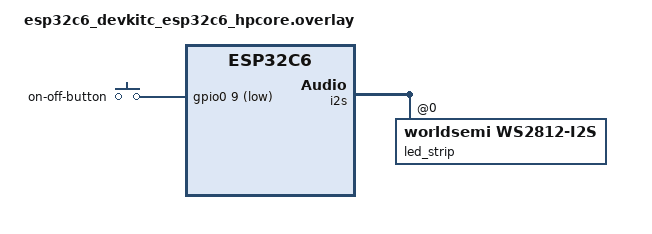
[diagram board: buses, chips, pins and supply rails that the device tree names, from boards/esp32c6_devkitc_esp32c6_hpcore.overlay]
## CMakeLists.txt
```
cmake_minimum_required(VERSION 3.20.0)

# nn-modules location: env (standalone build via nn-app-build) or the monorepo
# sibling (../../modules) as the fallback so in-tree builds keep working.
set(NN_MODULES_DIR "$ENV{NN_MODULES_DIR}")
if(NOT NN_MODULES_DIR)
    set(NN_MODULES_DIR ${CMAKE_CURRENT_SOURCE_DIR}/../../modules)
endif()

include(${NN_MODULES_DIR}/cmake/nn_version.cmake)
find_package(Zephyr REQUIRED HINTS $ENV{ZEPHYR_BASE})
project(mdns_ot_esp32c6)

add_subdirectory(${NN_MODULES_DIR}/libs/node_mgr node_mgr_build)

target_sources(app PRIVATE
    src/main.c
    src/mbedtls_threading_zephyr.c
)

target_include_directories(app PRIVATE include)
```

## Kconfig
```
mainmenu "mdns_ot_esp32c6 — Thread mesh with mDNS messaging"

config APP_DEVICE_NAME
	string "Default mDNS hostname"
	default "device1"
	help
	  Hostname advertised via mDNS as <name>.local.
	  Override at runtime with 'mesh name <name>'; persisted in NVS.

config APP_HOSTNAME_SIZE
	int
	default 32

config APP_DEVICE_TYPE
	string "Device type for OTA firmware matching"
	default "sample_c6"
	help
	  Identifies this device type when checking the hub for firmware updates.
	  Must match the type used with 'nn-hub firmware upload <type> ...'.

config APP_OTA_CHECK_INTERVAL_MIN
	int "OTA check interval (minutes, 0 = manual only)"
	default 0
	range 0 1440
	help
	  How often to automatically check the hub for firmware updates.
	  Set to 0 to disable automatic checks (use 'mesh ota check' instead).

# nn-modules location comes from the NN_MODULES_DIR env var (set by the
# standalone nn-app-build script, or by the monorepo build.sh).
source "$(NN_MODULES_DIR)/libs/node_mgr/Kconfig"

source "Kconfig.zephyr"
```

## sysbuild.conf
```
SB_CONFIG_BOOTLOADER_MCUBOOT=y
# OVERWRITE_ONLY: chosen as the operationally-working mode in our current
# stack (Zephyr 4.4, mbedtls 4.x, OpenThread, tf-psa-crypto).  Investigated
# 2026-05-19:
#  - OVERWRITE_ONLY hangs on *warm* reset triggered by sys_reboot after
#    boot_request_upgrade.  UART silent right after ESP-IDF's "SPI Flash
#    Size : 8MB", before MCUboot's own "Starting bootloader".  Operator
#    workaround: cold power-cycle after `mesh ota apply`.
#  - SWAP_SCRATCH (the historically working mode per project_ota_ab_swap.md)
#    works on cold boot but takes ~25 min on a 1.79 MB image (vs ~30 s for
#    OVERWRITE_ONLY).  Also hangs on warm reset.
#  - DIRECT_XIP is "CURRENTLY UNSUPPORTED" upstream in MCUboot's espressif
#    port (boot/espressif/hal/include/mcuboot_config/mcuboot_config.h:62)
#    — falls through to SWAP_USING_SCRATCH silently and produces a
#    bootloader that hangs on any cold boot with two populated slots.
# Documented in feedback_mcuboot_warm_reset_swap_hang.md.  Active mode:
# OVERWRITE_ONLY, accept cold-cycle-after-apply workflow.
SB_CONFIG_MCUBOOT_MODE_OVERWRITE_ONLY=y
```

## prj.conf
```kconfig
# === Serial / Shell ===
CONFIG_SERIAL=y
CONFIG_CONSOLE=y
CONFIG_UART_CONSOLE=y
CONFIG_EARLY_CONSOLE=y
CONFIG_SHELL=y
CONFIG_SHELL_BACKEND_SERIAL=y
CONFIG_SHELL_PROMPT_UART="mesh:~$ "
# Disable tab autocomplete — Zephyr's common_beginning_find faults
# on noisy input (see feedback_zephyr_shell_tab_crash.md).
CONFIG_SHELL_TAB=n
# BT shell defaulted IN with SHELL+BT and shipped in fleet images —
# ~KBs of code/RAM no product path uses (E2E = REST only).  Freed to
# fit the CORRECT iram placement of the arch core (task #46).
CONFIG_BT_SHELL=n
# history buffer = 512B of RAM for arrow-key recall on a bench console
CONFIG_SHELL_HISTORY=n
CONFIG_MAIN_STACK_SIZE=6144
# `ota_client_check` / `_download` put two 1280 B CoAP buffers + a
# 512 B resp_json on the shell stack (~3.3 KB before library frames).
# 4 KB is not enough — overflow smashes neighbouring thread TCBs and
# the deferred logging thread faults on its next wake-up.  Bump.
CONFIG_SHELL_STACK_SIZE=8192
CONFIG_STACK_SENTINEL=y

# === Networking core ===
CONFIG_NETWORKING=y
CONFIG_NET_L2_OPENTHREAD=y
CONFIG_NET_IPV6=y
CONFIG_NET_IPV6_NBR_CACHE=y
CONFIG_NET_IPV6_MLD=y          # Required by mDNS (joins ff02::fb multicast)
CONFIG_NET_UDP=y
CONFIG_NET_SOCKETS=y
# net shell = bench debug; product path is REST-only (freed for the
# correct iram placement, task #46)
CONFIG_NET_SHELL=n

# === OpenThread FTD ===
CONFIG_OPENTHREAD_FTD=y
# OPENTHREAD_SHELL pulls libopenthread-cli-ftd.a (10+ KB code, ~3 KB BSS)
# which expands further once Link Metrics CLI commands are linked.  Disable
# to fit Thread 1.2 + Link Metrics in 488 KB SRAM.  The app-side `mesh ...`
# command tree (nn_osal_shell-based) is unaffected; only `ot ...` commands
# go away.  Use UART boot logs + `nn-hub events` for OT introspection.
CONFIG_OPENTHREAD_SHELL=n
# OPENTHREAD_PING_SENDER is purely a `ot ping` diagnostic — disabled here
# to free ~4 KB of code+BSS so the Thread 1.2 Link Metrics path fits in
# ESP32-C6's 488 KB SRAM.  Re-enable when actively debugging on UART.
CONFIG_OPENTHREAD_PING_SENDER=n
# Thread joiner-protocol path is disabled in favour of the BLE-pushes-
# dataset onboarding flow (`nn-hub device new --dataset-hex …`).
# Re-enable both if you ever want to use OT MeshCoP commissioning:
#   CONFIG_OPENTHREAD_COMMISSIONER=y  — needed for /commission/add CoAP
#   CONFIG_OPENTHREAD_JOINER=y        — needed for `ot joiner start`
# The /commission/add CoAP resource in coap_info.c is also gated on
# CONFIG_OPENTHREAD_COMMISSIONER and is compiled out when this is n.
CONFIG_OPENTHREAD_COMMISSIONER=n
CONFIG_OPENTHREAD_JOINER=n
CONFIG_OPENTHREAD_THREAD_STACK_SIZE=6144
# Never auto-start from NVS — 802.15.4 is disabled at boot for BLE PHY init.
CONFIG_OPENTHREAD_MANUAL_START=y
# SLAAC: auto-configure OMR addresses from border router prefix advertisements.
# Required for hub→device CoAP reachability via Thread Border Router.
CONFIG_OPENTHREAD_SLAAC=y

# Thread 1.2 mode — required for Link Metrics support.  The default in this
# tree is 1.1 (set by Kconfig.features default).  Link Metrics types are
# gated on `OPENTHREAD_THREAD_VERSION_1_2 || _1_3 || ..` in OT's headers,
# so flipping the version is enough to enable them.  1.2 is the minimum
# spec that introduced Link Metrics; we don't need 1.3/1.4 features.
CONFIG_OPENTHREAD_THREAD_VERSION_1_2=y

# Thread 1.2 Link Metrics — fixes asymmetric-route route-cost convergence.
# Without these, OT computes route cost only from MLE Advertisement (broadcast)
# reception quality; broadcasts go out at higher TX power than unicast on
# ESP32-C6, so a peer whose unicast path is broken stays advertised as a
# direct neighbor and cascades dump AUTO_NOTIFY into the dead path forever.
# Link Metrics adds bidirectional active probing so OT can detect and
# demote those asymmetric links within a couple of MLE intervals.
#   INITIATOR  — query metrics from peers
#   SUBJECT    — respond to other peers' queries
#   MANAGER    — periodically probe each connected neighbor and feed the
#                result into the route cost calculation
# All three must be set; MANAGER asserts on INITIATOR at compile time.
CONFIG_OPENTHREAD_LINK_METRICS_INITIATOR=y
CONFIG_OPENTHREAD_LINK_METRICS_SUBJECT=y
CONFIG_OPENTHREAD_LINK_METRICS_MANAGER=y

# === mDNS responder (answers <hostname>.local queries) ===
CONFIG_NET_HOSTNAME_ENABLE=y
CONFIG_NET_HOSTNAME_DYNAMIC=y
CONFIG_MDNS_RESPONDER=y

# === DNS resolver with mDNS support (resolves <hostname>.local) ===
CONFIG_DNS_RESOLVER=y
CONFIG_MDNS_RESOLVER=y
CONFIG_DNS_RESOLVER_MAX_SERVERS=1
CONFIG_DNS_NUM_CONCUR_QUERIES=3
# net_sock_svc monitors DNS resolver + mDNS responder sockets.
# Default ZVFS_POLL_MAX=3 is too small; set to 8 to cover all services.
CONFIG_ZVFS_POLL_MAX=8

# Required for OT L2 to propagate IPv6 multicast joins (e.g. ff02::fb) to
# otIp6SubscribeMulticastAddress.  Without this the OT l2 event handler
# receives NET_EVENT_IPV6_MADDR_ADD with a NULL info pointer and never
# subscribes, so mDNS multicast queries are silently dropped by OT.
CONFIG_NET_MGMT_EVENT_INFO=y

# === Flash / NVS / Settings (OT dataset + BLE prov flag + device name) ===
CONFIG_FLASH=y
CONFIG_FLASH_MAP=y
CONFIG_FLASH_PAGE_LAYOUT=y
CONFIG_NVS=y
CONFIG_SETTINGS=y
CONFIG_SETTINGS_NVS=y

# === Bluetooth (dual-role: peripheral + central for provisioning) ===
CONFIG_BT=y
CONFIG_BT_PERIPHERAL=y
CONFIG_BT_CENTRAL=y
CONFIG_BT_GATT_CLIENT=y
CONFIG_BT_DEVICE_NAME="OT-Node"
CONFIG_BT_MAX_CONN=2
CONFIG_BT_L2CAP_TX_MTU=260
CONFIG_BT_BUF_ACL_RX_SIZE=264
CONFIG_BT_BUF_ACL_TX_SIZE=264
# M6: encrypted DATASET_CHAR envelope (JSON + base64) is ~200B.
# At default ATT MTU=23, Write Long fragments into ~18B chunks → up
# to 12 prepare slots needed.  16 leaves headroom.
CONFIG_BT_ATT_PREPARE_COUNT=16
CONFIG_BT_SHELL=y

# === RF coexistence: manual (BLE and 802.15.4 never simultaneously) ===
CONFIG_ESP32_SW_COEXIST_ENABLE=n

# === CoAP (hub ↔ device protocol) ===
CONFIG_COAP=y

# === OTA: MCUboot image manager + stream flash for Block2 downloads ===
CONFIG_IMG_MANAGER=y
CONFIG_STREAM_FLASH=y
CONFIG_STREAM_FLASH_ERASE=y
CONFIG_IMG_BLOCK_BUF_SIZE=1024

# === PSA Crypto (for ECIES v2: X25519 ECDH + HKDF-SHA256 + AES-256-GCM) ===
# PSA_WANT_* symbols are invisible when MBEDTLS_PROMPTLESS=y and cannot be
# set here — they are pulled in via 'select' in node_mgr/Kconfig instead.
# Default heap (512 B) is too small for X25519 ECDH + HKDF + AES-GCM.
#
# 12 KB was tight: after a sustained sign load (e.g. OTA block downloads,
# 1 sign per block + 1 verify), mbedtls's internal allocator slowly
# fragments and psa_sign_message starts returning -141 INSUFFICIENT_MEMORY
# permanently until reboot.  Bump to 64 KB — gives plenty of headroom
# for the deterministic ECDSA sign workspace (~3 KB) plus the
# X25519 ECDH + HKDF + AES-GCM stack used during ECIES decrypt, with
# room left to fragment.
CONFIG_MBEDTLS_HEAP_SIZE=65536
# Temporary: introspect mbedtls heap to find PSA-141 root cause.
CONFIG_MBEDTLS_MEMORY_DEBUG=y
# Append our TF-PSA user config to enable MBEDTLS_THREADING_C +
# MBEDTLS_THREADING_ALT.  See apps/mdns_ot_esp32c6/include/
# tf_psa_user_config.h and src/mbedtls_threading_zephyr.c.
CONFIG_TF_PSA_CRYPTO_USER_CONFIG_FILE="tf_psa_user_config.h"

# === JSON for envelope parsing ===
CONFIG_JSON_LIBRARY=y

# === Base64 for ECIES envelope encoding ===
CONFIG_BASE64=y

# === Logging ===
CONFIG_LOG=y
# Was 8192; tried 4096 and it Z-FATAL'd on boot (logging thread stack
# overflow once Thread 1.2 + Link Metrics started emitting their own
# events).  6144 fits and survives boot; the SRAM headroom comes from
# the NET_BUF_RX_COUNT trim further down.
CONFIG_LOG_PROCESS_THREAD_STACK_SIZE=6144
# BLE provisioning's apply_dataset_work_handler runs on the system
# workqueue and calls otDatasetSetActiveTlvs() + Thread start, which
# overflows the default 1024B sysworkq stack.  Bumped to 4096 originally,
# then raised again to 12288 — the sensor_pump_work runs on the same
# system workqueue and fires the auto_engine cascade, which on a
# cross-device rule recurses through notify_targets → send_d2d_reliable
# → rel_burst_fire → rel_send_one (inner[774]) → send_signed_frame
# (~1 KB) → PSA sign (~1 KB).  Matches the field_relay worker bump.
CONFIG_SYSTEM_WORKQUEUE_STACK_SIZE=8192
# BLE GATT write callbacks (hub_config_cb / dataset_cb) run on the BT
# RX thread and call PSA crypto + settings_save_one — defaults of
# 1200/1300 bytes overflow.  Bump both BT thread stacks to 4096.
CONFIG_BT_RX_STACK_SIZE=4096
CONFIG_BT_LONG_WQ_STACK_SIZE=4096
CONFIG_PRINTK=y
# Ensure printk goes directly to UART, not through the log subsystem.
# Needed for OTA progress output while log thread is suspended.
CONFIG_LOG_PRINTK=n
CONFIG_NET_LOG=y
# Remote syslog via Zephyr's built-in net backend (UDP to hub).
# Server address set at runtime via log_backend_net_set_addr().
# Remote logging: coap_log backend (like log_backend_mqtt pattern).
# LOG_ALWAYS_RUNTIME was needed for coap_log backend but causes flash
# XIP crashes during OTA.  Disabled for now — coap_log backend won't
# receive messages until runtime filter is set.
# CONFIG_LOG_ALWAYS_RUNTIME=y
CONFIG_OPENTHREAD_L2_LOG_LEVEL_WRN=y
CONFIG_BT_LOG_LEVEL_INF=y
CONFIG_BT_HCI_DRIVER_LOG_LEVEL_WRN=y
CONFIG_LOG_BUFFER_SIZE=4096
CONFIG_SHELL_CMD_BUFF_SIZE=512

# === Network buffers ===
# Doubled from 64/128 pkts and 128/32 bufs (see git log) — gives
# headroom for concurrent FIELD_OP relay traffic + OTA Block2 fragments
# + mDNS responder.  Helps but does NOT close the residual net_pkt
# alloc FAILED rate observed during E2E FIELD_REPLY testing on c6-s1
# (~0.5/s during idle) — that's a deeper Zephyr OT L2 leak per
# feedback_zephyr_zsock_net_buf_leak.md.  NET_BUF_POOL_USAGE turned on
# so `net mem` shell prints per-pool high-water marks for future debug.
# NET pool was bumped 2x for FIELD_REPLY back-pressure headroom; the
# real fix was async dispatch in field_relay (nn-modules@69c0cc7) so
# the 2x is no longer load-bearing.  Trimming RX from 256 → 192 frees
# ~8 KB BSS, which is what made Thread 1.2 + Link Metrics fit.
CONFIG_NET_PKT_RX_COUNT=128
CONFIG_NET_PKT_TX_COUNT=32
# 192 -> 184 (2026-09-25): the hermetic build (SDK 1.0.1, ISR code in IRAM)
# overflowed sram0_0_seg by 464 B after radio stats / channel scan /
# nearest-gateway state; RX pools measured never below 192/192 free.
CONFIG_NET_BUF_RX_COUNT=184
CONFIG_NET_BUF_TX_COUNT=64
CONFIG_NET_BUF_POOL_USAGE=y
# Default NET_MAX_CONN=8 fills with mDNS×2 + CoAP server + messenger +
# nn_proto_client + OTA bind, leaving no slot for ota_client's outbound
# CoAP socket; symptom is errno=2 (ENOENT) on bind/sendto.  See
# memory/feedback_zephyr_net_max_conn.md.
CONFIG_NET_MAX_CONN=24

# Phase 3: drive on-board WS2812 LED (GPIO 8) for "led" actuator demo.
# Use I2S + DMA (Espressif's reference) — SPI driver doesn't generate
# clean back-to-back WS2812 frames on ESP32-C6 (FSPI adds inter-byte
# idle gaps that prevent the chip from latching subsequent updates).
CONFIG_LED_STRIP=y
CONFIG_WS2812_STRIP_I2S=y
CONFIG_I2S=y
CONFIG_DMA=y

# Phase 3: on-board BOOT button (GPIO 9) as a "button" sensor field.
# Pick TOGGLE — each press flips the value; FLIP would mirror the
# physical button (1 while held, 0 released).
CONFIG_NODE_MGR_BUTTON=y
CONFIG_NODE_MGR_BUTTON_TOGGLE=y
CONFIG_NN_PAL=y

# Firmware identity: BLE FW_NAME char + INFO_REPLY img + OTA catalog key.
CONFIG_NODE_MGR_IMAGE_NAME="nn-app-mdns-ot-esp32c6"

# Floats in logs and the shell ("%f"): without this cbprintf prints "*float*".
# The field-push JSON no longer depends on it, but log lines and
# `mesh auto get` still do.
CONFIG_CBPRINTF_FP_SUPPORT=y


# one copy per reliable-send attempt: the fixed 802.15.4 driver lets
# OpenThread retry lost frames; 3 copies only congested the channel
CONFIG_NODE_MGR_NN_PROTO_RELIABLE_FIRE_BURST=1
```

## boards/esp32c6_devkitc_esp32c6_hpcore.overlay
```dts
/*
 * DTS overlay for the mdns_ot_esp32c6 sensor sample.
 *
 * - On-board WS2812 RGB LED on GPIO 8 as a led-strip device, used by
 *   the "led" actuator field.  Driven via I2S + DMA, not SPI — ESP32-C6
 *   FSPI inserts inter-byte idle gaps that break WS2812 timing after the
 *   first transfer.  Mirrors Espressif's reference at
 *   third_party/zephyr/samples/drivers/led/led_strip/boards/
 *     esp32c6_devkitc_hpcore.overlay.
 * - On-board BOOT button on GPIO 9 as the `sw0` alias, used by
 *   node_mgr/button (NODE_MGR_BUTTON_{FLIP,TOGGLE}).  Active-low with
 *   internal pull-up — GPIO 9 is also a strap pin so it must idle high
 *   at reset; with the button up at reset that's automatic.
 */

#include <zephyr/dt-bindings/led/led.h>
#include <zephyr/dt-bindings/gpio/gpio.h>
#include <zephyr/dt-bindings/input/input-event-codes.h>

&i2s_default {
	group1 {
		pinmux = <I2S_O_SD_GPIO8>;
	};
};

i2s_led: &i2s {
	status = "okay";

	dmas = <&dma 3>;
	dma-names = "tx";

	led_strip: ws2812@0 {
		compatible = "worldsemi,ws2812-i2s";

		reg = <0>;
		chain-length = <1>;
		/* ESP32-C6 DevKitC's on-board WS2812 chip is RGB byte-order
		 * (not the more common GRB).  With GRB mapping the cb's
		 * green=0x40 lands in the chip's red slot and the LED blinks
		 * red.  Use RED-GREEN-BLUE here so struct.r → wire byte 0. */
		color-mapping = <LED_COLOR_ID_RED
				 LED_COLOR_ID_GREEN
				 LED_COLOR_ID_BLUE>;
		reset-delay = <500>;
	};
};

&dma {
	status = "okay";
};

/ {
	aliases {
		led-strip = &led_strip;
		sw0 = &on_off_button;
	};

	buttons {
		compatible = "gpio-keys";

		on_off_button: button_0 {
			gpios = <&gpio0 9 (GPIO_ACTIVE_LOW | GPIO_PULL_UP)>;
			zephyr,code = <INPUT_KEY_0>;
			label = "on-off-button";
		};
	};
};
```

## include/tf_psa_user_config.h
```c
/*
 * tf_psa_user_config.h — appended after Zephyr's config-tf-psa-crypto.h.
 *
 * Wired via CONFIG_TF_PSA_CRYPTO_USER_CONFIG_FILE in prj.conf.  Adds the
 * threading-safety macros that the base config explicitly does NOT
 * define, so TF-PSA-crypto serialises its internal state through our
 * registered k_mutex callbacks (see threading_alt.h + mbedtls_threading_
 * zephyr.c).
 *
 * Why: identity_sign was returning PSA_ERROR_INSUFFICIENT_MEMORY (-141)
 * non-deterministically during OTA, even though the mbedtls heap was
 * 99.7 % free.  The cause was concurrent access from OpenThread's MLE
 * security crypto, which corrupts PSA's key-slot table without
 * internal locking.  See feedback_psa_141_partial_mitigations.md.
 */

#ifndef TF_PSA_USER_CONFIG_H_
#define TF_PSA_USER_CONFIG_H_

#define MBEDTLS_THREADING_C
#define MBEDTLS_THREADING_ALT

#endif /* TF_PSA_USER_CONFIG_H_ */
```

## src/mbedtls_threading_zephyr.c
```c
/* SPDX-License-Identifier: Apache-2.0 */

/*
 * mbedtls_threading_zephyr.c — Zephyr k_mutex / k_condvar bindings for
 * MBEDTLS_THREADING_ALT (TF-PSA-crypto v1.x API).  Registered via
 * mbedtls_threading_set_alt() at SYS_INIT POST_KERNEL priority high
 * enough to land BEFORE Zephyr's own _mbedtls_init() (which calls
 * psa_crypto_init at POST_KERNEL default priority 40).
 *
 * Background: TF-PSA-crypto's internal state (key-slot table, slot
 * reader counters, internal allocator metadata) is not thread-safe
 * unless MBEDTLS_THREADING_C is enabled.  OpenThread's MLE security
 * thread calls into PSA crypto on its own thread; without a shared
 * mutex it races with our identity_sign calls, corrupting the slot
 * table, which eventually surfaces as PSA_ERROR_INSUFFICIENT_MEMORY
 * (-141) from psa_sign_hash on an unrelated, perfectly valid call.
 *
 * The threading_alt.h header in the mbedtls include path declares
 * mbedtls_platform_mutex_t / _condition_variable_t as opaque byte
 * buffers (NOT as struct k_mutex / k_condvar) — this avoids dragging
 * <zephyr/kernel.h> into OpenThread's mbedtls.cpp compile, which
 * would create a build-order deadlock against heap_constants.h.
 * The casts below + the static_asserts below pin the opaque buffer
 * sizes to the real Zephyr types at compile time.
 */

#include <mbedtls/threading.h>

#include <nn_osal/osal.h>

NN_OSAL_LOG_MODULE(mbedtls_threading);

/* Pin the opaque-buffer sizes in threading_alt.h to the real Zephyr
 * struct sizes.  If a future Zephyr bump grows either struct past
 * these budgets, the build will fail loudly here instead of silently
 * corrupting memory. */
BUILD_ASSERT(sizeof(struct k_mutex)   <= MBEDTLS_THREADING_ZEPHYR_MUTEX_SIZE,
	     "MBEDTLS_THREADING_ZEPHYR_MUTEX_SIZE too small");
BUILD_ASSERT(sizeof(struct k_condvar) <= MBEDTLS_THREADING_ZEPHYR_CONDVAR_SIZE,
	     "MBEDTLS_THREADING_ZEPHYR_CONDVAR_SIZE too small");

static inline struct k_mutex *to_kmutex(mbedtls_platform_mutex_t *m)
{
	return (struct k_mutex *)m;
}

static inline struct k_condvar *to_kcondvar(mbedtls_platform_condition_variable_t *c)
{
	return (struct k_condvar *)c;
}

/* ── mutex callbacks ─────────────────────────────────────────────── */

static int zmt_mutex_init(mbedtls_platform_mutex_t *m)
{
	if (!m) {
		return MBEDTLS_ERR_THREADING_USAGE_ERROR;
	}
	return k_mutex_init(to_kmutex(m)) == 0 ? 0
					       : MBEDTLS_ERR_THREADING_USAGE_ERROR;
}

static void zmt_mutex_destroy(mbedtls_platform_mutex_t *m)
{
	(void)m;
}

static int zmt_mutex_lock(mbedtls_platform_mutex_t *m)
{
	if (!m) {
		return MBEDTLS_ERR_THREADING_USAGE_ERROR;
	}
	return k_mutex_lock(to_kmutex(m), K_FOREVER) == 0
		       ? 0
		       : MBEDTLS_ERR_THREADING_USAGE_ERROR;
}

static int zmt_mutex_unlock(mbedtls_platform_mutex_t *m)
{
	if (!m) {
		return MBEDTLS_ERR_THREADING_USAGE_ERROR;
	}
	return k_mutex_unlock(to_kmutex(m)) == 0
		       ? 0
		       : MBEDTLS_ERR_THREADING_USAGE_ERROR;
}

/* ── condition variable callbacks ────────────────────────────────── */

static int zmt_cond_init(mbedtls_platform_condition_variable_t *c)
{
	if (!c) {
		return MBEDTLS_ERR_THREADING_USAGE_ERROR;
	}
	return k_condvar_init(to_kcondvar(c)) == 0
		       ? 0
		       : MBEDTLS_ERR_THREADING_USAGE_ERROR;
}

static void zmt_cond_destroy(mbedtls_platform_condition_variable_t *c)
{
	(void)c;
}

static int zmt_cond_signal(mbedtls_platform_condition_variable_t *c)
{
	if (!c) {
		return MBEDTLS_ERR_THREADING_USAGE_ERROR;
	}
	(void)k_condvar_signal(to_kcondvar(c));
	return 0;
}

static int zmt_cond_broadcast(mbedtls_platform_condition_variable_t *c)
{
	if (!c) {
		return MBEDTLS_ERR_THREADING_USAGE_ERROR;
	}
	(void)k_condvar_broadcast(to_kcondvar(c));
	return 0;
}

static int zmt_cond_wait(mbedtls_platform_condition_variable_t *c,
			 mbedtls_platform_mutex_t *m)
{
	if (!c || !m) {
		return MBEDTLS_ERR_THREADING_USAGE_ERROR;
	}
	return k_condvar_wait(to_kcondvar(c), to_kmutex(m), K_FOREVER) == 0
		       ? 0
		       : MBEDTLS_ERR_THREADING_USAGE_ERROR;
}

/* ── registration ────────────────────────────────────────────────── */

static int zephyr_mbedtls_threading_init(void)
{
	printk("SYS_INIT[mbedtls_threading]: set_alt begin\n");
	mbedtls_threading_set_alt(zmt_mutex_init,
				  zmt_mutex_destroy,
				  zmt_mutex_lock,
				  zmt_mutex_unlock,
				  zmt_cond_init,
				  zmt_cond_destroy,
				  zmt_cond_signal,
				  zmt_cond_broadcast,
				  zmt_cond_wait);
	printk("SYS_INIT[mbedtls_threading]: set_alt done\n");
	NN_LOG_INF("mbedtls threading_alt installed (k_mutex + k_condvar)");
	return 0;
}

/* POST_KERNEL priority 25 — runs BEFORE Zephyr's _mbedtls_init() which
 * uses CONFIG_KERNEL_INIT_PRIORITY_DEFAULT (=40) at POST_KERNEL.  Routed
 * through NN_OSAL_INIT_EARLY which maps to SYS_INIT(POST_KERNEL, level). */
NN_OSAL_INIT_EARLY(zephyr_mbedtls_threading_init, 25);
```
